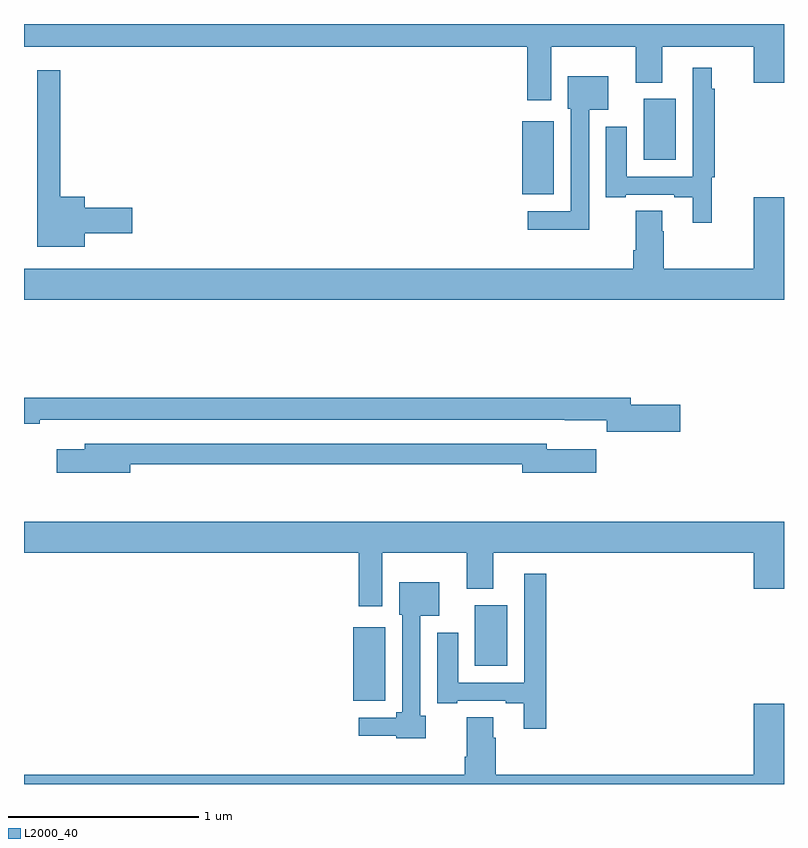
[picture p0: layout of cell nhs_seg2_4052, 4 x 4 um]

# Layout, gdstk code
import gdstk
lib = gdstk.Library(unit=1e-6, precision=1e-09)
def R(c, l, rs):  # rectangles x0, y0, x1, y1
    for r in rs: c.add(gdstk.rectangle(r[:2], r[2:], *l))
def P(c, l, *ps):  # polygons
    for p in ps: c.add(gdstk.Polygon(p, *l))
L2000_40 = (2000, 40)

nhs_seg2_4052 = lib.new_cell('nhs_seg2_4052')
R(nhs_seg2_4052, L2000_40, [(330.734,600.239,330.901,600.625), (331.373,600.422,331.543,600.742), (331.622,602.903,331.789,603.289), (332.261,603.086,332.431,603.406)])
P(nhs_seg2_4052, L2000_40, [(331.774,603.68),(332.219,603.68),(332.219,603.491),(332.359,603.491),(332.359,603.68),(332.84,603.68),(332.84,603.492),(333,603.492),(333,603.8),(329,603.8),(329,603.68),(331.649,603.68),(331.649,603.399),(331.774,603.399)],
  [(332.619,602.994),(332.636,602.994),(332.636,603.458),(332.619,603.458),(332.619,603.571),(332.52,603.571),(332.52,602.997),(332.173,602.997),(332.173,603.259),(332.063,603.259),(332.063,602.889),(332.167,602.889),(332.167,602.901),(332.423,602.901),(332.423,602.889),(332.519,602.889),(332.519,602.754),(332.619,602.754)],
  [(329.32,602.699),(329.569,602.699),(329.569,602.834),(329.32,602.834),(329.32,602.89),(329.191,602.89),(329.191,603.556),(329.069,603.556),(329.069,602.627),(329.32,602.627)],
  [(331.974,603.35),(332.074,603.35),(332.074,603.526),(331.862,603.526),(331.862,603.354),(331.878,603.354),(331.878,602.814),(331.65,602.814),(331.65,602.717),(331.974,602.717)],
  [(333,602.887),(332.84,602.887),(332.84,602.512),(332.367,602.512),(332.367,602.708),(332.359,602.708),(332.359,602.816),(332.219,602.816),(332.219,602.608),(332.207,602.608),(332.207,602.512),(329,602.512),(329,602.348),(333,602.348)],
  [(332.455,601.796),(332.194,601.796),(332.194,601.832),(329,601.832),(329,601.696),(329.084,601.696),(329.084,601.716),(331.846,601.716),(331.846,601.715),(332.066,601.715),(332.066,601.654),(332.455,601.654)],
  [(329.56,601.482),(331.622,601.482),(331.622,601.439),(332.011,601.439),(332.011,601.561),(331.75,601.561),(331.75,601.59),(329.321,601.59),(329.321,601.561),(329.172,601.561),(329.172,601.439),(329.56,601.439)],
  [(330.886,601.016),(331.331,601.016),(331.331,600.827),(331.471,600.827),(331.471,601.016),(332.84,601.016),(332.84,600.828),(333,600.828),(333,601.18),(329,601.18),(329,601.016),(330.761,601.016),(330.761,600.735),(330.886,600.735)],
  [(331.748,600.907),(331.632,600.907),(331.632,600.333),(331.285,600.333),(331.285,600.595),(331.175,600.595),(331.175,600.225),(331.279,600.225),(331.279,600.237),(331.535,600.237),(331.535,600.225),(331.631,600.225),(331.631,600.09),(331.748,600.09)],
  [(331.114,600.159),(331.086,600.159),(331.086,600.686),(331.186,600.686),(331.186,600.862),(330.974,600.862),(330.974,600.69),(330.99,600.69),(330.99,600.178),(330.96,600.178),(330.96,600.15),(330.762,600.15),(330.762,600.053),(330.96,600.053),(330.96,600.041),(331.114,600.041)],
  [(333,600.223),(332.84,600.223),(332.84,599.848),(331.484,599.848),(331.484,600.044),(331.471,600.044),(331.471,600.152),(331.331,600.152),(331.331,599.944),(331.319,599.944),(331.319,599.848),(329,599.848),(329,599.8),(333,599.8)])

lib.write_gds('nhs_seg2_4052.gds')
